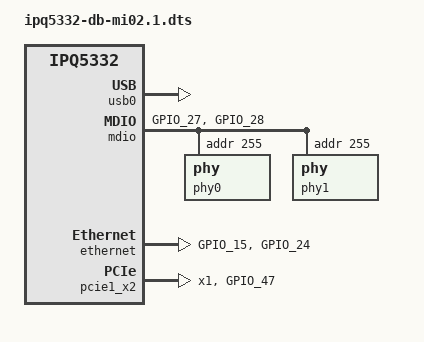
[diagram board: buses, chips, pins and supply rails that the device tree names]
// SPDX-License-Identifier: GPL-2.0-only
/*
* Copyright (c) 2023, Qualcomm Innovation Center, Inc. All rights reserved.
*/

#include "ipq5332-default.dts"

/ {
	config_name = "config@db-mi02.1", "config-db-mi02.1";

	soc: soc {
		tlmm: pinctrl@1000000 {
			mdio_pinmux: mdio {
				mdc {
					pins = "GPIO_27";
					function = "mdc_1";
					drive-strength = <DRIVE_STRENGTH_8MA>;
					bias-disable;
				};

				mdio {
					pins = "GPIO_28";
					function = "mdio_1";
					drive-strength = <DRIVE_STRENGTH_8MA>;
					bias-pull-up;
				};
			};

			phy_rst_pinmux: phy_rst {
				qti_sfp0_tx_los {
					pins = "GPIO_15";
					drive-strength = <DRIVE_STRENGTH_8MA>;
					bias-pull-up;
					output-enable;
				};

				qti_sfp1_tx_los {
					pins = "GPIO_24";
					drive-strength = <DRIVE_STRENGTH_8MA>;
					bias-pull-up;
					output-enable;
				};
			};

			pcie1_x2_pinmux: pci_pins {
				pci_rst {
					pins = "GPIO_47";
					drive-strength = <DRIVE_STRENGTH_8MA>;
					bias-pull-up;
				};
			};
		};

		hs_m31phy_0: hs_m31phy@7b000 {
			status = "okay";
		};

		usb0: usb@8af8800 {
			qti,select-utmi-as-pipe-clk;
			status = "okay";

			dwc3@8a00000 {
				phys = <&hs_m31phy_0>;
				phy-names = "usb2-phy";
				maximum-speed = "high-speed";
			};
		};

		mdio: mdio@90000 {
			pinctrl-names = "default";
			pinctrl-0 = <&mdio_pinmux>;
			status = "okay";

			phy0: phy@ff {
				reg = <0xFF>;
				phy_id = <SFP10G_PHY_TYPE>;
				id = <1>;
				uniphy_id = <0>;
				uniphy_type = <0>;
				max_speed = <10000>;
				xgmac;
			};

			phy1: phy@ff {
				reg = <0xFF>;
				phy_id = <SFP10G_PHY_TYPE>;
				id = <2>;
				uniphy_id = <1>;
				uniphy_type = <0>;
				max_speed = <10000>;
				xgmac;
			};
		};

		ethernet: nss-switch {
			pinctrl-names = "default";
			pinctrl-0 = <&phy_rst_pinmux>;
			phy-handle0 = <&phy0>;
			phy-handle1 = <&phy1>;
			status = "okay";
		};

		pcie1_x2: pci@18000000 {
			pinctrl-names = "default";
			pinctrl-0 = <&pcie1_x2_pinmux>;
			num-lanes = <1>;
			perst_gpio = <&tlmm 47 0>;
			status = "okay";
		};
	};
};
